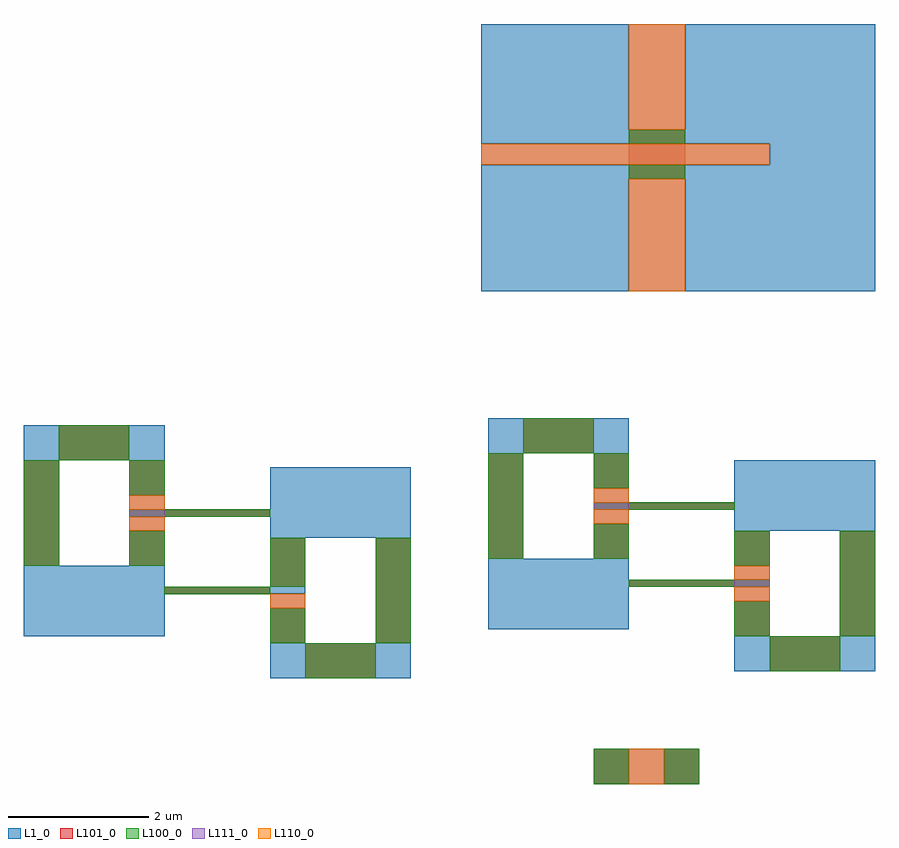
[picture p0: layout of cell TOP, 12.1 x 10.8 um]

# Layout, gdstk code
import gdstk
lib = gdstk.Library(unit=1e-6, precision=1e-09)
def R(c, l, rs):  # rectangles x0, y0, x1, y1
    for r in rs: c.add(gdstk.rectangle(r[:2], r[2:], *l))
def P(c, l, *ps):  # polygons
    for p in ps: c.add(gdstk.Polygon(p, *l))
L1_0 = (1, 0)
L100_0 = (100, 0)
L101_0 = (101, 0)
L110_0 = (110, 0)
L111_0 = (111, 0)

top = lib.new_cell('TOP')
R(top, L1_0, [(-0.5,0,0,0.5), (0.5,0,1,0.5), (-7.1,3.8,-5.1,3.9)])
P(top, L1_0, [(-2.1,7),(-2.1,8.8),(2,8.8),(2,9.1),(-2.1,9.1),(-2.1,10.8),(0,10.8),(0,9.3),(0.8,9.3),(0.8,10.8),(3.5,10.8),(3.5,7),(0.8,7),(0.8,8.6),(0,8.6),(0,7)],
  [(-5.1,1.5),(-5.1,2.5),(-4.6,2.5),(-4.6,2),(-3.6,2),(-3.6,3.5),(-4.6,3.5),(-4.6,2.7),(-5.1,2.7),(-5.1,4.5),(-3.1,4.5),(-3.1,1.5)],
  [(-8.6,2.1),(-8.6,5.1),(-6.6,5.1),(-6.6,4.1),(-7.1,4.1),(-7.1,4.6),(-8.1,4.6),(-8.1,3.1),(-7.1,3.1),(-7.1,3.6),(-6.6,3.6),(-6.6,2.8),(-5.1,2.8),(-5.1,2.7),(-6.6,2.7),(-6.6,2.1)],
  [(1.5,1.6),(1.5,2.6),(2,2.6),(2,2.1),(3,2.1),(3,3.6),(2,3.6),(2,3.1),(1.5,3.1),(1.5,3.9),(-0.5,3.9),(-0.5,4),(1.5,4),(1.5,4.6),(3.5,4.6),(3.5,1.6)],
  [(-2,2.2),(-2,5.2),(0,5.2),(0,4.2),(-0.5,4.2),(-0.5,4.7),(-1.5,4.7),(-1.5,3.2),(-0.5,3.2),(-0.5,3.7),(0,3.7),(0,2.9),(2,2.9),(2,2.8),(0,2.8),(0,2.2)])
R(top, L100_0, [(-0.501,-0.001,0.001,0.501), (-0.501,-0.001,0.001,0.501), (0.499,-0.001,1.001,0.501), (0.499,-0.001,1.001,0.501), (-4.601,1.499,-3.599,2.001), (1.999,1.599,3.001,2.101), (-5.101,1.999,-4.599,2.501), (-3.601,1.999,-3.099,3.501), (1.499,2.099,2.001,2.601), (2.999,2.099,3.501,3.601), (-6.601,2.699,-5.099,2.801), (-5.101,2.799,-4.599,3.501), (-0.001,2.799,2.001,2.901), (-8.601,3.099,-8.099,4.601), (-7.101,3.099,-6.599,3.601), (1.499,3.099,2.001,3.601), (-2.001,3.199,-1.499,4.701), (-0.501,3.199,0.001,3.701), (-7.101,3.799,-5.099,3.901), (-0.501,3.899,1.501,4.001), (-7.101,4.099,-6.599,4.601), (-0.501,4.199,0.001,4.701), (-8.101,4.599,-7.099,5.101), (-1.501,4.699,-0.499,5.201), (-0.001,8.599,0.801,8.801), (-0.001,9.099,0.801,9.301)])
R(top, L101_0, [(-0.501,-0.001,0.001,0.501), (-0.501,-0.001,0.001,0.501), (0.499,-0.001,1.001,0.501), (0.499,-0.001,1.001,0.501), (-4.601,1.499,-3.599,2.001), (1.999,1.599,3.001,2.101), (-5.101,1.999,-4.599,2.501), (-3.601,1.999,-3.099,3.501), (1.499,2.099,2.001,2.601), (2.999,2.099,3.501,3.601), (-6.601,2.699,-5.099,2.801), (-5.101,2.799,-4.599,3.501), (-0.001,2.799,2.001,2.901), (-8.601,3.099,-8.099,4.601), (-7.101,3.099,-6.599,3.601), (1.499,3.099,2.001,3.601), (-2.001,3.199,-1.499,4.701), (-0.501,3.199,0.001,3.701), (-7.101,3.799,-5.099,3.901), (-0.501,3.899,1.501,4.001), (-7.101,4.099,-6.599,4.601), (-0.501,4.199,0.001,4.701), (-8.101,4.599,-7.099,5.101), (-1.501,4.699,-0.499,5.201), (-0.001,8.599,0.801,9.301), (-0.001,8.599,0.801,8.801), (-0.001,9.099,0.801,9.301)])
R(top, L110_0, [(-0.001,-0.001,0.501,0.501), (-5.101,2.499,-4.599,2.701), (1.499,2.599,2.001,2.801), (1.499,2.899,2.001,3.101), (-7.101,3.599,-6.599,3.801), (-0.501,3.699,0.001,3.901), (-7.101,3.899,-6.599,4.101), (-0.501,3.999,0.001,4.201), (-0.001,6.999,0.801,8.601), (-2.101,8.799,2.001,9.101), (-0.001,9.299,0.801,10.801)])
R(top, L111_0, [(-0.001,-0.001,0.501,0.501), (-5.101,2.499,-4.599,2.701), (1.499,2.599,2.001,2.801), (1.499,2.599,2.001,3.101), (1.499,2.899,2.001,3.101), (-7.101,3.599,-6.599,3.801), (-7.101,3.599,-6.599,4.101), (-0.501,3.699,0.001,3.901), (-0.501,3.699,0.001,4.201), (-7.101,3.899,-6.599,4.101), (-0.501,3.999,0.001,4.201), (-0.001,6.999,0.801,8.601), (-2.101,8.799,2.001,9.101), (-0.001,9.299,0.801,10.801)])

lib.write_gds('TOP.gds')
